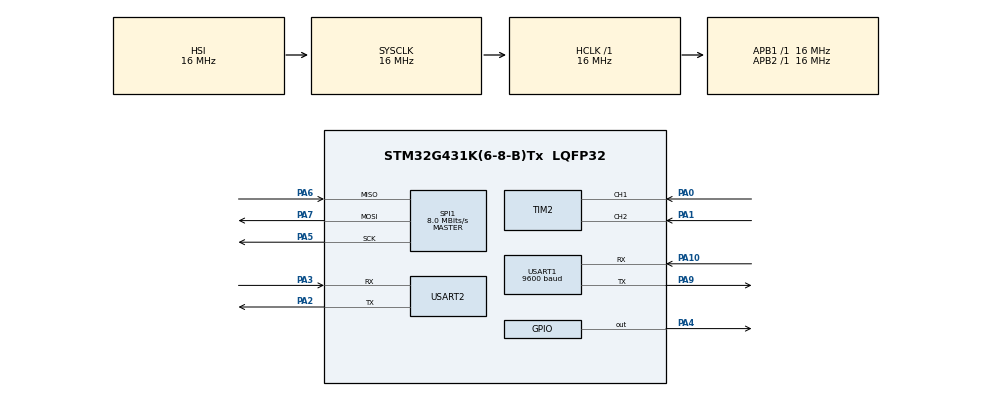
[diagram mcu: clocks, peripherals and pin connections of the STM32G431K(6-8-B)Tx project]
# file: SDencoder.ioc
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FATFS._MAX_SS=4096
FATFS._USE_LFN=1
Mcu.Family=STM32G4
Mcu.Name=STM32G431K(6-8-B)Tx
Mcu.Package=LQFP32
NVIC.PriorityGroup=NVIC_PRIORITYGROUP_4
NVIC.TIM1_TRG_COM_TIM17_IRQn=true\:0\:0\:false\:false\:true\:true\:true\:true
NVIC.TIM1_UP_TIM16_IRQn=true\:0\:0\:false\:false\:true\:true\:true\:true
NVIC.USART1_IRQn=true\:0\:0\:false\:false\:true\:true\:true\:true
NVIC.USART2_IRQn=true\:0\:0\:false\:false\:true\:true\:true\:true
PA0.Signal=S_TIM2_CH1
PA1.Signal=S_TIM2_CH2
PA10.Mode=Asynchronous
PA10.Signal=USART1_RX
PA2.Mode=Asynchronous
PA2.Signal=USART2_TX
PA3.Mode=Asynchronous
PA3.Signal=USART2_RX
PA4.Signal=GPIO_Output
PA5.Mode=Full_Duplex_Master
PA5.Signal=SPI1_SCK
PA6.Mode=Full_Duplex_Master
PA6.Signal=SPI1_MISO
PA7.Mode=Full_Duplex_Master
PA7.Signal=SPI1_MOSI
PA9.Mode=Asynchronous
PA9.Signal=USART1_TX
ProjectManager.HeapSize=0x200
ProjectManager.StackSize=0x400
ProjectManager.TargetToolchain=STM32CubeIDE
RCC.AHBFreq_Value=16000000
RCC.APB1Freq_Value=16000000
RCC.APB1TimFreq_Value=16000000
RCC.APB2Freq_Value=16000000
RCC.APB2TimFreq_Value=16000000
RCC.CortexFreq_Value=16000000
RCC.EXTERNAL_CLOCK_VALUE=12288000
RCC.HCLKFreq_Value=16000000
RCC.HSE_VALUE=8000000
RCC.HSI48_VALUE=48000000
RCC.HSI_VALUE=16000000
RCC.LSE_VALUE=32768
RCC.SYSCLKFreq_VALUE=16000000
RCC.USBFreq_Value=64000000
RCC.VCOOutputFreq_Value=128000000
SH.S_TIM2_CH1.0=TIM2_CH1,Encoder_Interface
SH.S_TIM2_CH2.0=TIM2_CH2,Encoder_Interface
SPI1.BaudRatePrescaler=SPI_BAUDRATEPRESCALER_2
SPI1.CalculateBaudRate=8.0 MBits/s
SPI1.DataSize=SPI_DATASIZE_8BIT
SPI1.Direction=SPI_DIRECTION_2LINES
SPI1.Mode=SPI_MODE_MASTER
SPI1.VirtualType=VM_MASTER
TIM16.PeriodNoDither=99
TIM16.Prescaler=7999
TIM17.PeriodNoDither=99
TIM17.Prescaler=7999
TIM2.EncoderMode=TIM_ENCODERMODE_TI12
USART1.BaudRate=9600
USART1.VirtualMode-Asynchronous=VM_ASYNC
USART2.VirtualMode-Asynchronous=VM_ASYNC
VP_FATFS_VS_Generic.Mode=User_defined
VP_SYS_VS_DBSignals.Mode=DisableDeadBatterySignals
VP_TIM16_VS_ClockSourceINT.Mode=Enable_Timer
VP_TIM17_VS_ClockSourceINT.Mode=Enable_Timer
board=custom

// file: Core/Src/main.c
/* USER CODE BEGIN Header */
/**
  ******************************************************************************
  * @file           : main.c
  * @brief          : Main program body
  ******************************************************************************
  * @attention
  *
  * Copyright (c) 2025 STMicroelectronics.
  * All rights reserved.
  *
  * This software is licensed under terms that can be found in the LICENSE file
  * in the root directory of this software component.
  * If no LICENSE file comes with this software, it is provided AS-IS.
  *
  ******************************************************************************
  */
/* USER CODE END Header */
#include "main.h"
#include "app_fatfs.h"

/* USER CODE BEGIN Includes */
#include <stdio.h>
#include <stdlib.h>
#include "fatfs_sd.h"
#include "string.h"

/* USER CODE END Includes */

SPI_HandleTypeDef hspi1;

TIM_HandleTypeDef htim2;
TIM_HandleTypeDef htim16;
TIM_HandleTypeDef htim17;

UART_HandleTypeDef huart1;
UART_HandleTypeDef huart2;

/* USER CODE BEGIN PV */
FATFS fs;
FIL fil;
FRESULT fresult;
char sd_buffer[1024];
char buffer2[1024];
UINT br, bw;

FATFS *pfs;
uint32_t fre_clust, tot_size, fre_size;

uint8_t buffer[30];
char data[30];
int size = 1;
int datapos = 0;
char num_char[30];

int cnt= 0;
int count = 0;

uint32_t time = 0;
float cangle = 0;
float tangle = 0;

char angle_buffer[100];

int m_count = 0;

/* USER CODE END PV */

void SystemClock_Config(void);
static void MX_GPIO_Init(void);
static void MX_USART2_UART_Init(void);
static void MX_SPI1_Init(void);
static void MX_TIM2_Init(void);
static void MX_TIM16_Init(void);
static void MX_TIM17_Init(void);
static void MX_USART1_UART_Init(void);

/* USER CODE BEGIN 0 */

int16_t read_encoder_value(void)
{
  int32_t count_t = 0;
  uint32_t enc_buff = TIM2->CNT;
  TIM2->CNT = 0;
  if (enc_buff > 0x8fffffffffffffff)
  {
    count_t = (int32_t)enc_buff*-1;
    //printf("-\r\n");
  }
  else
  {
    count_t = (int32_t)enc_buff;
  }
  return (int16_t)count_t;
}

void HAL_TIM_PeriodElapsedCallback(TIM_HandleTypeDef *htim){
	if(htim == &htim16){
//		count = read_encoder_value();
//		//printf("count:%d\r\n",count);
//		cnt += count;
		//tangle = (float)cnt / 8192.0 * 360.0;
	}else if(htim == &htim17){
		//printf("17\r\n");
//		time = HAL_GetTick();
//		if(f_open(&fil, "file1.csv", FA_OPEN_ALWAYS | FA_WRITE) == FR_OK){
//			//strcpy(sd_buffer, "qwertyuiop\n");
//			sprintf(sd_buffer,"%ld,%f,%d\n",time,cangle,cnt);
//			f_lseek(&fil, f_size(&fil));
//			f_write(&fil, sd_buffer, strlen(sd_buffer), &bw);
//			f_close(&fil);
//			//printf("%s\r\n",sd_buffer);
//			printf("%ld\r\n",time);
//		}else{
//			printf("SDopen failed\r\n");
//		}

	}
}

void HAL_UART_RxCpltCallback(UART_HandleTypeDef *huart){
	//printf("receive\r\n");
	//printf("%d\r\n",buffer[0]);

	if(buffer[0] == 13){
		//printf("ok\r\n");
		if(data[0] == 97){
			for(int i=0;i<datapos-1;i++){
				num_char[i] = data[i+1];
			}
			num_char[datapos-1] = '\0';
			cangle = strtof(num_char, NULL);
			//printf("%f",cangle);
		}else if(data[0] == 114){
			if(f_open(&fil, "file1.csv", FA_OPEN_ALWAYS | FA_WRITE) == FR_OK){
				strcpy(sd_buffer, "reset\n");
				cnt = 0;
				//sprintf(sd_buffer,"%ld,%f,%d\n",time,cangle,cnt);
				f_lseek(&fil, f_size(&fil));
				f_write(&fil, sd_buffer, strlen(sd_buffer), &bw);
				f_close(&fil);
			}
		}
		for(int i =0;i < datapos;i++){
			//printf("%d\r\n",data[i]);
			//printf("i:%d,data:%d\r\n",i,data[i]);

			data[i] = 0;
		}
		datapos = -1;
	}else{
		data[datapos] = buffer[0];
		//printf("%d\r\n",data[datapos]);
		datapos++;
	}
	HAL_UART_Receive_IT(&huart1, buffer, 1);
}

void HAL_UART_ErrorCallback(UART_HandleTypeDef *huart){
	printf("uart_error\r\n");
	HAL_UART_Abort(huart);
	HAL_UART_Receive_IT(&huart1, buffer, size);
}

int _write(int file, char *ptr, int len)
{
  HAL_UART_Transmit(&huart2,(uint8_t *)ptr,len,10);
  return len;
}

/* USER CODE END 0 */

int main(void)
{

  /* USER CODE BEGIN 1 */
	setbuf(stdout, NULL);

  /* USER CODE END 1 */

  /* MCU Configuration--------------------------------------------------------*/

  /* Reset of all peripherals, Initializes the Flash interface and the Systick. */
  HAL_Init();

  /* Configure the system clock */
  SystemClock_Config();

  /* Initialize all configured peripherals */
  MX_GPIO_Init();
  MX_USART2_UART_Init();
  MX_SPI1_Init();
  MX_TIM2_Init();
  if (MX_FATFS_Init() != APP_OK) {
    Error_Handler();
  }
  MX_TIM16_Init();
  MX_TIM17_Init();
  MX_USART1_UART_Init();
  /* USER CODE BEGIN 2 */

  fresult = f_mount(&fs, "/", 1);
  if(fresult == FR_OK){
  	 printf("SD CARD mounted successfully.\r\n");
  }else{
  	  printf("ERROR : SD CARD mounted\r\n");
  }

  HAL_TIM_Encoder_Start( &htim2, TIM_CHANNEL_ALL );
  HAL_TIM_Base_Start_IT(&htim16);
  HAL_TIM_Base_Start_IT(&htim17);
  HAL_UART_Receive_IT(&huart1, buffer, 1);

  /* USER CODE END 2 */

  /* Infinite loop */
  while (1)
  {

    /* USER CODE BEGIN 3 */
	  //cnt = __HAL_TIM_GET_COUNTER(&htim2);
	  //printf("%d\r\n",cnt);
	  //printf("count:%d\r\n",count);
	  time = HAL_GetTick();
	  count = read_encoder_value();
	  //printf("count:%d\r\n",count);
	  cnt += count;
	  tangle = (float)cnt / 8192.0 * 360.0;
	  if(f_open(&fil, "file1.txt", FA_OPEN_ALWAYS | FA_WRITE) == FR_OK){
		  //strcpy(sd_buffer, "qwertyuiop\n");
		  sprintf(sd_buffer,"%ld,%.2f,%.2f\n",time,cangle,tangle);
		  f_lseek(&fil, f_size(&fil));
		  f_write(&fil, sd_buffer, strlen(sd_buffer), &bw);
		  f_close(&fil);
			//printf("%s\r\n",sd_buffer);
		  //printf("t:%ld,a:%s,n:%f\r\n",time,sd_buffer,cangle);
		  printf("%s",sd_buffer);
	  }else{
		  printf("SDopen failed\r\n");
	  }
	  sprintf(angle_buffer, "a%.2f\r\n", tangle);
	  //printf("c:%d,t:%.2f\r\n",cnt,tangle);
	  if(m_count == 30){
		  HAL_UART_Transmit(&huart1, (uint8_t*)angle_buffer, strlen(angle_buffer), 0xFFFF);
		  m_count = 0;
	  }else{
		  m_count++;
	  }

	  HAL_Delay(100);
  }
  /* USER CODE END 3 */
}

void SystemClock_Config(void)
{
  RCC_OscInitTypeDef RCC_OscInitStruct = {0};
  RCC_ClkInitTypeDef RCC_ClkInitStruct = {0};

  /** Configure the main internal regulator output voltage
  */
  HAL_PWREx_ControlVoltageScaling(PWR_REGULATOR_VOLTAGE_SCALE1);

  /** Initializes the RCC Oscillators according to the specified parameters
  * in the RCC_OscInitTypeDef structure.
  */
  RCC_OscInitStruct.OscillatorType = RCC_OSCILLATORTYPE_HSI;
  RCC_OscInitStruct.HSIState = RCC_HSI_ON;
  RCC_OscInitStruct.HSICalibrationValue = RCC_HSICALIBRATION_DEFAULT;
  RCC_OscInitStruct.PLL.PLLState = RCC_PLL_NONE;
  if (HAL_RCC_OscConfig(&RCC_OscInitStruct) != HAL_OK)
  {
    Error_Handler();
  }

  /** Initializes the CPU, AHB and APB buses clocks
  */
  RCC_ClkInitStruct.ClockType = RCC_CLOCKTYPE_HCLK|RCC_CLOCKTYPE_SYSCLK
                              |RCC_CLOCKTYPE_PCLK1|RCC_CLOCKTYPE_PCLK2;
  RCC_ClkInitStruct.SYSCLKSource = RCC_SYSCLKSOURCE_HSI;
  RCC_ClkInitStruct.AHBCLKDivider = RCC_SYSCLK_DIV1;
  RCC_ClkInitStruct.APB1CLKDivider = RCC_HCLK_DIV1;
  RCC_ClkInitStruct.APB2CLKDivider = RCC_HCLK_DIV1;

  if (HAL_RCC_ClockConfig(&RCC_ClkInitStruct, FLASH_LATENCY_0) != HAL_OK)
  {
    Error_Handler();
  }
}

static void MX_SPI1_Init(void)
{

  /* SPI1 parameter configuration*/
  hspi1.Instance = SPI1;
  hspi1.Init.Mode = SPI_MODE_MASTER;
  hspi1.Init.Direction = SPI_DIRECTION_2LINES;
  hspi1.Init.DataSize = SPI_DATASIZE_8BIT;
  hspi1.Init.CLKPolarity = SPI_POLARITY_LOW;
  hspi1.Init.CLKPhase = SPI_PHASE_1EDGE;
  hspi1.Init.NSS = SPI_NSS_SOFT;
  hspi1.Init.BaudRatePrescaler = SPI_BAUDRATEPRESCALER_2;
  hspi1.Init.FirstBit = SPI_FIRSTBIT_MSB;
  hspi1.Init.TIMode = SPI_TIMODE_DISABLE;
  hspi1.Init.CRCCalculation = SPI_CRCCALCULATION_DISABLE;
  hspi1.Init.CRCPolynomial = 7;
  hspi1.Init.CRCLength = SPI_CRC_LENGTH_DATASIZE;
  hspi1.Init.NSSPMode = SPI_NSS_PULSE_ENABLE;
  if (HAL_SPI_Init(&hspi1) != HAL_OK)
  {
    Error_Handler();
  }

}

static void MX_TIM2_Init(void)
{

  TIM_Encoder_InitTypeDef sConfig = {0};
  TIM_MasterConfigTypeDef sMasterConfig = {0};

  htim2.Instance = TIM2;
  htim2.Init.Prescaler = 0;
  htim2.Init.CounterMode = TIM_COUNTERMODE_UP;
  htim2.Init.Period = 4294967295;
  htim2.Init.ClockDivision = TIM_CLOCKDIVISION_DIV1;
  htim2.Init.AutoReloadPreload = TIM_AUTORELOAD_PRELOAD_DISABLE;
  sConfig.EncoderMode = TIM_ENCODERMODE_TI12;
  sConfig.IC1Polarity = TIM_ICPOLARITY_RISING;
  sConfig.IC1Selection = TIM_ICSELECTION_DIRECTTI;
  sConfig.IC1Prescaler = TIM_ICPSC_DIV1;
  sConfig.IC1Filter = 0;
  sConfig.IC2Polarity = TIM_ICPOLARITY_RISING;
  sConfig.IC2Selection = TIM_ICSELECTION_DIRECTTI;
  sConfig.IC2Prescaler = TIM_ICPSC_DIV1;
  sConfig.IC2Filter = 0;
  if (HAL_TIM_Encoder_Init(&htim2, &sConfig) != HAL_OK)
  {
    Error_Handler();
  }
  sMasterConfig.MasterOutputTrigger = TIM_TRGO_RESET;
  sMasterConfig.MasterSlaveMode = TIM_MASTERSLAVEMODE_DISABLE;
  if (HAL_TIMEx_MasterConfigSynchronization(&htim2, &sMasterConfig) != HAL_OK)
  {
    Error_Handler();
  }

}

static void MX_TIM16_Init(void)
{

  htim16.Instance = TIM16;
  htim16.Init.Prescaler = 7999;
  htim16.Init.CounterMode = TIM_COUNTERMODE_UP;
  htim16.Init.Period = 99;
  htim16.Init.ClockDivision = TIM_CLOCKDIVISION_DIV1;
  htim16.Init.RepetitionCounter = 0;
  htim16.Init.AutoReloadPreload = TIM_AUTORELOAD_PRELOAD_DISABLE;
  if (HAL_TIM_Base_Init(&htim16) != HAL_OK)
  {
    Error_Handler();
  }

}

static void MX_TIM17_Init(void)
{

  htim17.Instance = TIM17;
  htim17.Init.Prescaler = 7999;
  htim17.Init.CounterMode = TIM_COUNTERMODE_UP;
  htim17.Init.Period = 99;
  htim17.Init.ClockDivision = TIM_CLOCKDIVISION_DIV1;
  htim17.Init.RepetitionCounter = 0;
  htim17.Init.AutoReloadPreload = TIM_AUTORELOAD_PRELOAD_DISABLE;
  if (HAL_TIM_Base_Init(&htim17) != HAL_OK)
  {
    Error_Handler();
  }

}

static void MX_USART1_UART_Init(void)
{

  huart1.Instance = USART1;
  huart1.Init.BaudRate = 9600;
  huart1.Init.WordLength = UART_WORDLENGTH_8B;
  huart1.Init.StopBits = UART_STOPBITS_1;
  huart1.Init.Parity = UART_PARITY_NONE;
  huart1.Init.Mode = UART_MODE_TX_RX;
  huart1.Init.HwFlowCtl = UART_HWCONTROL_NONE;
  huart1.Init.OverSampling = UART_OVERSAMPLING_16;
  huart1.Init.OneBitSampling = UART_ONE_BIT_SAMPLE_DISABLE;
  huart1.Init.ClockPrescaler = UART_PRESCALER_DIV1;
  huart1.AdvancedInit.AdvFeatureInit = UART_ADVFEATURE_NO_INIT;
  if (HAL_UART_Init(&huart1) != HAL_OK)
  {
    Error_Handler();
  }
  if (HAL_UARTEx_SetTxFifoThreshold(&huart1, UART_TXFIFO_THRESHOLD_1_8) != HAL_OK)
  {
    Error_Handler();
  }
  if (HAL_UARTEx_SetRxFifoThreshold(&huart1, UART_RXFIFO_THRESHOLD_1_8) != HAL_OK)
  {
    Error_Handler();
  }
  if (HAL_UARTEx_DisableFifoMode(&huart1) != HAL_OK)
  {
    Error_Handler();
  }

}

static void MX_USART2_UART_Init(void)
{

  huart2.Instance = USART2;
  huart2.Init.BaudRate = 115200;
  huart2.Init.WordLength = UART_WORDLENGTH_8B;
  huart2.Init.StopBits = UART_STOPBITS_1;
  huart2.Init.Parity = UART_PARITY_NONE;
  huart2.Init.Mode = UART_MODE_TX_RX;
  huart2.Init.HwFlowCtl = UART_HWCONTROL_NONE;
  huart2.Init.OverSampling = UART_OVERSAMPLING_16;
  huart2.Init.OneBitSampling = UART_ONE_BIT_SAMPLE_DISABLE;
  huart2.Init.ClockPrescaler = UART_PRESCALER_DIV1;
  huart2.AdvancedInit.AdvFeatureInit = UART_ADVFEATURE_NO_INIT;
  if (HAL_UART_Init(&huart2) != HAL_OK)
  {
    Error_Handler();
  }
  if (HAL_UARTEx_SetTxFifoThreshold(&huart2, UART_TXFIFO_THRESHOLD_1_8) != HAL_OK)
  {
    Error_Handler();
  }
  if (HAL_UARTEx_SetRxFifoThreshold(&huart2, UART_RXFIFO_THRESHOLD_1_8) != HAL_OK)
  {
    Error_Handler();
  }
  if (HAL_UARTEx_DisableFifoMode(&huart2) != HAL_OK)
  {
    Error_Handler();
  }

}

static void MX_GPIO_Init(void)
{
  GPIO_InitTypeDef GPIO_InitStruct = {0};

  /* GPIO Ports Clock Enable */
  __HAL_RCC_GPIOA_CLK_ENABLE();

  /*Configure GPIO pin Output Level */
  HAL_GPIO_WritePin(GPIOA, GPIO_PIN_4, GPIO_PIN_RESET);

  /*Configure GPIO pin : PA4 */
  GPIO_InitStruct.Pin = GPIO_PIN_4;
  GPIO_InitStruct.Mode = GPIO_MODE_OUTPUT_PP;
  GPIO_InitStruct.Pull = GPIO_NOPULL;
  GPIO_InitStruct.Speed = GPIO_SPEED_FREQ_LOW;
  HAL_GPIO_Init(GPIOA, &GPIO_InitStruct);

}

void Error_Handler(void)
{
  /* USER CODE BEGIN Error_Handler_Debug */
  /* User can add his own implementation to report the HAL error return state */
  __disable_irq();
  while (1)
  {
	  printf("error");
  }
  /* USER CODE END Error_Handler_Debug */
}
